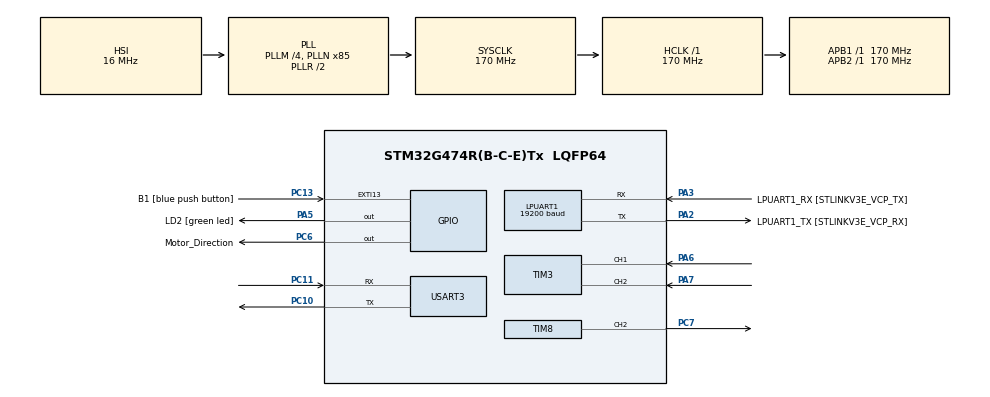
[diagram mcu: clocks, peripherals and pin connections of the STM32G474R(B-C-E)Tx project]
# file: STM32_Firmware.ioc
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LPUART1.BaudRate=19200
LPUART1.Parity=UART_PARITY_EVEN
LPUART1.WordLength=UART_WORDLENGTH_9B
Mcu.Family=STM32G4
Mcu.Name=STM32G474R(B-C-E)Tx
Mcu.Package=LQFP64
NVIC.EXTI15_10_IRQn=true\:0\:0\:false\:false\:true\:true\:true\:true
NVIC.LPUART1_IRQn=true\:0\:0\:false\:false\:true\:true\:true\:true
NVIC.PriorityGroup=NVIC_PRIORITYGROUP_4
NVIC.TIM1_UP_TIM16_IRQn=true\:0\:0\:false\:false\:true\:true\:true\:true
NVIC.TIM6_DAC_IRQn=true\:0\:0\:false\:false\:true\:true\:true\:true
NVIC.USART3_IRQn=true\:0\:0\:false\:false\:true\:true\:true\:true
PA13.GPIO_Label=T_SWDIO
PA13.Signal=SYS_JTMS-SWDIO
PA14.GPIO_Label=T_SWCLK
PA14.Signal=SYS_JTCK-SWCLK
PA2.GPIO_Label=LPUART1_TX [STLINKV3E_VCP_RX]
PA2.Mode=Asynchronous
PA2.Signal=LPUART1_TX
PA3.GPIO_Label=LPUART1_RX [STLINKV3E_VCP_TX]
PA3.Mode=Asynchronous
PA3.Signal=LPUART1_RX
PA5.GPIO_Label=LD2 [green led]
PA5.Signal=GPIO_Output
PA6.Signal=S_TIM3_CH1
PA7.Signal=S_TIM3_CH2
PB3.GPIO_Label=T_SWO
PB3.Signal=SYS_JTDO-SWO
PC10.Mode=Asynchronous
PC10.Signal=USART3_TX
PC11.Mode=Asynchronous
PC11.Signal=USART3_RX
PC13.GPIO_Label=B1 [blue push button]
PC13.Signal=GPXTI13
PC14-OSC32_IN.GPIO_Label=RCC_OSC32_IN
PC14-OSC32_IN.Signal=RCC_OSC32_IN
PC15-OSC32_OUT.GPIO_Label=RCC_OSC32_OUT
PC15-OSC32_OUT.Signal=RCC_OSC32_OUT
PC6.GPIO_Label=Motor_Direction
PC6.Signal=GPIO_Output
PC7.Signal=S_TIM8_CH2
PF0-OSC_IN.GPIO_Label=RCC_OSC_IN
PF0-OSC_IN.Signal=RCC_OSC_IN
PF1-OSC_OUT.GPIO_Label=RCC_OSC_OUT
PF1-OSC_OUT.Signal=RCC_OSC_OUT
ProjectManager.HeapSize=0x200
ProjectManager.StackSize=0x400
ProjectManager.TargetToolchain=STM32CubeIDE
RCC.ADC12Freq_Value=170000000
RCC.ADC345Freq_Value=170000000
RCC.AHBFreq_Value=170000000
RCC.APB1Freq_Value=170000000
RCC.APB1TimFreq_Value=170000000
RCC.APB2Freq_Value=170000000
RCC.APB2TimFreq_Value=170000000
RCC.CortexFreq_Value=170000000
RCC.EXTERNAL_CLOCK_VALUE=12288000
RCC.HCLKFreq_Value=170000000
RCC.HSE_VALUE=24000000
RCC.HSI48_VALUE=48000000
RCC.HSI_VALUE=16000000
RCC.LPUART1CLockSelection=RCC_LPUART1CLKSOURCE_HSI
RCC.LSE_VALUE=32768
RCC.PLLM=RCC_PLLM_DIV4
RCC.PLLN=85
RCC.RTCClockSelection=RCC_RTCCLKSOURCE_LSE
RCC.SYSCLKFreq_VALUE=170000000
RCC.SYSCLKSource=RCC_SYSCLKSOURCE_PLLCLK
RCC.USBFreq_Value=170000000
RCC.VCOOutputFreq_Value=340000000
SH.S_TIM3_CH1.0=TIM3_CH1,Encoder_Interface
SH.S_TIM3_CH2.0=TIM3_CH2,Encoder_Interface
SH.S_TIM8_CH2.0=TIM8_CH2,PWM Generation2 CH2
TIM16.PeriodNoDither=49
TIM16.Prescaler=16999
TIM3.EncoderMode=TIM_ENCODERMODE_TI12
TIM6.AutoReloadPreload=TIM_AUTORELOAD_PRELOAD_ENABLE
TIM6.PeriodNoDither=9999
TIM6.Prescaler=169
TIM8.Channel-PWM\ Generation2\ CH2=TIM_CHANNEL_2
TIM8.PeriodNoDither=50
TIM8.Prescaler=169
USART3.SwapParam=ADVFEATURE_SWAP_ENABLE
USART3.VirtualMode-Asynchronous=VM_ASYNC
VP_SYS_VS_DBSignals.Mode=DisableDeadBatterySignals
VP_TIM16_VS_ClockSourceINT.Mode=Enable_Timer
VP_TIM6_VS_ClockSourceINT.Mode=Enable_Timer
board=NUCLEO-G474RE

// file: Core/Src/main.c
/* USER CODE BEGIN Header */
/**
  ******************************************************************************
  * @file           : main.c
  * @brief          : Main program body
  ******************************************************************************
  * @attention
  *
  * Copyright (c) 2026 STMicroelectronics.
  * All rights reserved.
  *
  * This software is licensed under terms that can be found in the LICENSE file
  * in the root directory of this software component.
  * If no LICENSE file comes with this software, it is provided AS-IS.
  *
  ******************************************************************************
  */
/* USER CODE END Header */
#include "main.h"

/* USER CODE BEGIN Includes */
#include "motor_controller.h"
#include "modbus_bridge.h"
#include <string.h>
#include <stdio.h>
/* USER CODE END Includes */

UART_HandleTypeDef hlpuart1;
UART_HandleTypeDef huart3;

TIM_HandleTypeDef htim3;
TIM_HandleTypeDef htim6;
TIM_HandleTypeDef htim8;
TIM_HandleTypeDef htim16;

/* USER CODE BEGIN PV */
volatile uint8_t rx_byte;
volatile char rx_debug_log[16];  // Circular log to see command history in Live Expressions
volatile uint8_t debug_idx = 0;
volatile uint8_t modbus_rx_byte;
/* USER CODE END PV */

void SystemClock_Config(void);
static void MX_GPIO_Init(void);
static void MX_LPUART1_UART_Init(void);
static void MX_TIM3_Init(void);
static void MX_TIM6_Init(void);
static void MX_TIM8_Init(void);
static void MX_TIM16_Init(void);
static void MX_USART3_UART_Init(void);

/* USER CODE BEGIN 0 */
void Modbus_RxCallback(UART_HandleTypeDef *huart)
{
  ModbusBridge_RxCallback(modbus_rx_byte);
  HAL_UART_Receive_IT(&hlpuart1, &modbus_rx_byte, 1);
}

void HAL_UART_ErrorCallback(UART_HandleTypeDef *huart)
{
  /* --- UART Overrun Error (ORE) Recovery --- */
  if (huart->ErrorCode & HAL_UART_ERROR_ORE) {
    __HAL_UART_CLEAR_FLAG(huart, UART_CLEAR_OREF);
  }

  if (huart->Instance == LPUART1) {
    HAL_UART_AbortReceive_IT(&hlpuart1);
    HAL_UART_Receive_IT(&hlpuart1, &modbus_rx_byte, 1);
  } else if (huart->Instance == USART3) {
    HAL_UART_AbortReceive_IT(&huart3);
    HAL_UART_Receive_IT(&huart3, &rx_byte, 1);
  }
}

void Timer_PeriodElapsedCallback(TIM_HandleTypeDef *htim)
{
  if (htim->Instance == TIM6) {
    Motor_ControlLoop();
  } else if (htim->Instance == TIM16) {
    ModbusBridge_TimerCallback();
  }
}

void Joystick_RxCallback(UART_HandleTypeDef *huart)
{
  // Log the received byte for debugging in Live Expressions
  rx_debug_log[debug_idx] = rx_byte;
  debug_idx = (debug_idx + 1) % 16;

  Motor_ProcessCommand(rx_byte);
  HAL_UART_Receive_IT(&huart3, (uint8_t*)&rx_byte, 1);
}
/* USER CODE END 0 */

int main(void)
{

  /* MCU Configuration--------------------------------------------------------*/

  /* Reset of all peripherals, Initializes the Flash interface and the Systick. */
  HAL_Init();

  /* Configure the system clock */
  SystemClock_Config();

  /* Initialize all configured peripherals */
  MX_GPIO_Init();
  MX_LPUART1_UART_Init();
  MX_TIM3_Init();
  MX_TIM6_Init();
  MX_TIM8_Init();
  MX_TIM16_Init();
  MX_USART3_UART_Init();
  /* USER CODE BEGIN 2 */
  HAL_UART_RegisterCallback(&hlpuart1, HAL_UART_RX_COMPLETE_CB_ID, Modbus_RxCallback);
  HAL_UART_RegisterCallback(&huart3, HAL_UART_RX_COMPLETE_CB_ID, Joystick_RxCallback);
  HAL_UART_RegisterCallback(&hlpuart1, HAL_UART_ERROR_CB_ID, HAL_UART_ErrorCallback);
  HAL_UART_RegisterCallback(&huart3, HAL_UART_ERROR_CB_ID, HAL_UART_ErrorCallback);

  HAL_TIM_RegisterCallback(&htim6, HAL_TIM_PERIOD_ELAPSED_CB_ID, Timer_PeriodElapsedCallback);
  HAL_TIM_RegisterCallback(&htim16, HAL_TIM_PERIOD_ELAPSED_CB_ID, Timer_PeriodElapsedCallback);

  Motor_Init();
  Motor_SetVoltageLimit(12.0f, 12.0f);
  Motor_SetMotionProfile(250.0f, 500.0f, 0.1f);
  ModbusBridge_Init();

  HAL_UART_Receive_IT(&hlpuart1, &modbus_rx_byte, 1);
  HAL_UART_Receive_IT(&huart3, &rx_byte, 1);
  /* USER CODE END 2 */

  /* Infinite loop */
  /* USER CODE BEGIN WHILE */
  uint32_t last_matlab_tick = HAL_GetTick();
  while (1)
  {
    /* USER CODE END WHILE */

    /* USER CODE BEGIN 3 */
      // Dummy usage to force linker to keep these symbols for Live Expressions
      if (debug_idx > 100) rx_debug_log[0] = 0;

	  if (HAL_GetTick() - last_matlab_tick >= 20) {
	        Motor_SendDataToMatlab();
	        last_matlab_tick = HAL_GetTick();
	      }

	      ModbusBridge_UpdateRegisters();
	      ModbusBridge_Process();
  }
  /* USER CODE END 3 */
}

void SystemClock_Config(void)
{
  RCC_OscInitTypeDef RCC_OscInitStruct = {0};
  RCC_ClkInitTypeDef RCC_ClkInitStruct = {0};

  /** Configure the main internal regulator output voltage
  */
  HAL_PWREx_ControlVoltageScaling(PWR_REGULATOR_VOLTAGE_SCALE1_BOOST);

  /** Initializes the RCC Oscillators according to the specified parameters
  * in the RCC_OscInitTypeDef structure.
  */
  RCC_OscInitStruct.OscillatorType = RCC_OSCILLATORTYPE_HSI;
  RCC_OscInitStruct.HSIState = RCC_HSI_ON;
  RCC_OscInitStruct.HSICalibrationValue = RCC_HSICALIBRATION_DEFAULT;
  RCC_OscInitStruct.PLL.PLLState = RCC_PLL_ON;
  RCC_OscInitStruct.PLL.PLLSource = RCC_PLLSOURCE_HSI;
  RCC_OscInitStruct.PLL.PLLM = RCC_PLLM_DIV4;
  RCC_OscInitStruct.PLL.PLLN = 85;
  RCC_OscInitStruct.PLL.PLLP = RCC_PLLP_DIV2;
  RCC_OscInitStruct.PLL.PLLQ = RCC_PLLQ_DIV2;
  RCC_OscInitStruct.PLL.PLLR = RCC_PLLR_DIV2;
  if (HAL_RCC_OscConfig(&RCC_OscInitStruct) != HAL_OK)
  {
    Error_Handler();
  }

  /** Initializes the CPU, AHB and APB buses clocks
  */
  RCC_ClkInitStruct.ClockType = RCC_CLOCKTYPE_HCLK|RCC_CLOCKTYPE_SYSCLK
                              |RCC_CLOCKTYPE_PCLK1|RCC_CLOCKTYPE_PCLK2;
  RCC_ClkInitStruct.SYSCLKSource = RCC_SYSCLKSOURCE_PLLCLK;
  RCC_ClkInitStruct.AHBCLKDivider = RCC_SYSCLK_DIV1;
  RCC_ClkInitStruct.APB1CLKDivider = RCC_HCLK_DIV1;
  RCC_ClkInitStruct.APB2CLKDivider = RCC_HCLK_DIV1;

  if (HAL_RCC_ClockConfig(&RCC_ClkInitStruct, FLASH_LATENCY_4) != HAL_OK)
  {
    Error_Handler();
  }
}

static void MX_LPUART1_UART_Init(void)
{

  hlpuart1.Instance = LPUART1;
  hlpuart1.Init.BaudRate = 19200;
  hlpuart1.Init.WordLength = UART_WORDLENGTH_9B;
  hlpuart1.Init.StopBits = UART_STOPBITS_1;
  hlpuart1.Init.Parity = UART_PARITY_EVEN;
  hlpuart1.Init.Mode = UART_MODE_TX_RX;
  hlpuart1.Init.HwFlowCtl = UART_HWCONTROL_NONE;
  hlpuart1.Init.OneBitSampling = UART_ONE_BIT_SAMPLE_DISABLE;
  hlpuart1.Init.ClockPrescaler = UART_PRESCALER_DIV1;
  hlpuart1.AdvancedInit.AdvFeatureInit = UART_ADVFEATURE_NO_INIT;
  if (HAL_UART_Init(&hlpuart1) != HAL_OK)
  {
    Error_Handler();
  }
  if (HAL_UARTEx_SetTxFifoThreshold(&hlpuart1, UART_TXFIFO_THRESHOLD_1_8) != HAL_OK)
  {
    Error_Handler();
  }
  if (HAL_UARTEx_SetRxFifoThreshold(&hlpuart1, UART_RXFIFO_THRESHOLD_1_8) != HAL_OK)
  {
    Error_Handler();
  }
  if (HAL_UARTEx_DisableFifoMode(&hlpuart1) != HAL_OK)
  {
    Error_Handler();
  }

}

static void MX_USART3_UART_Init(void)
{

  huart3.Instance = USART3;
  huart3.Init.BaudRate = 115200;
  huart3.Init.WordLength = UART_WORDLENGTH_8B;
  huart3.Init.StopBits = UART_STOPBITS_1;
  huart3.Init.Parity = UART_PARITY_NONE;
  huart3.Init.Mode = UART_MODE_TX_RX;
  huart3.Init.HwFlowCtl = UART_HWCONTROL_NONE;
  huart3.Init.OverSampling = UART_OVERSAMPLING_16;
  huart3.Init.OneBitSampling = UART_ONE_BIT_SAMPLE_DISABLE;
  huart3.Init.ClockPrescaler = UART_PRESCALER_DIV1;
  huart3.AdvancedInit.AdvFeatureInit = UART_ADVFEATURE_SWAP_INIT;
  huart3.AdvancedInit.Swap = UART_ADVFEATURE_SWAP_ENABLE;
  if (HAL_UART_Init(&huart3) != HAL_OK)
  {
    Error_Handler();
  }
  if (HAL_UARTEx_SetTxFifoThreshold(&huart3, UART_TXFIFO_THRESHOLD_1_8) != HAL_OK)
  {
    Error_Handler();
  }
  if (HAL_UARTEx_SetRxFifoThreshold(&huart3, UART_RXFIFO_THRESHOLD_1_8) != HAL_OK)
  {
    Error_Handler();
  }
  if (HAL_UARTEx_DisableFifoMode(&huart3) != HAL_OK)
  {
    Error_Handler();
  }

}

static void MX_TIM3_Init(void)
{

  TIM_Encoder_InitTypeDef sConfig = {0};
  TIM_MasterConfigTypeDef sMasterConfig = {0};

  htim3.Instance = TIM3;
  htim3.Init.Prescaler = 0;
  htim3.Init.CounterMode = TIM_COUNTERMODE_UP;
  htim3.Init.Period = 65535;
  htim3.Init.ClockDivision = TIM_CLOCKDIVISION_DIV1;
  htim3.Init.AutoReloadPreload = TIM_AUTORELOAD_PRELOAD_DISABLE;
  sConfig.EncoderMode = TIM_ENCODERMODE_TI12;
  sConfig.IC1Polarity = TIM_ICPOLARITY_RISING;
  sConfig.IC1Selection = TIM_ICSELECTION_DIRECTTI;
  sConfig.IC1Prescaler = TIM_ICPSC_DIV1;
  sConfig.IC1Filter = 0;
  sConfig.IC2Polarity = TIM_ICPOLARITY_RISING;
  sConfig.IC2Selection = TIM_ICSELECTION_DIRECTTI;
  sConfig.IC2Prescaler = TIM_ICPSC_DIV1;
  sConfig.IC2Filter = 0;
  if (HAL_TIM_Encoder_Init(&htim3, &sConfig) != HAL_OK)
  {
    Error_Handler();
  }
  sMasterConfig.MasterOutputTrigger = TIM_TRGO_RESET;
  sMasterConfig.MasterSlaveMode = TIM_MASTERSLAVEMODE_DISABLE;
  if (HAL_TIMEx_MasterConfigSynchronization(&htim3, &sMasterConfig) != HAL_OK)
  {
    Error_Handler();
  }

}

static void MX_TIM6_Init(void)
{

  TIM_MasterConfigTypeDef sMasterConfig = {0};

  htim6.Instance = TIM6;
  htim6.Init.Prescaler = 169;
  htim6.Init.CounterMode = TIM_COUNTERMODE_UP;
  htim6.Init.Period = 9999;
  htim6.Init.AutoReloadPreload = TIM_AUTORELOAD_PRELOAD_ENABLE;
  if (HAL_TIM_Base_Init(&htim6) != HAL_OK)
  {
    Error_Handler();
  }
  sMasterConfig.MasterOutputTrigger = TIM_TRGO_RESET;
  sMasterConfig.MasterSlaveMode = TIM_MASTERSLAVEMODE_DISABLE;
  if (HAL_TIMEx_MasterConfigSynchronization(&htim6, &sMasterConfig) != HAL_OK)
  {
    Error_Handler();
  }

}

static void MX_TIM8_Init(void)
{

  TIM_MasterConfigTypeDef sMasterConfig = {0};
  TIM_OC_InitTypeDef sConfigOC = {0};
  TIM_BreakDeadTimeConfigTypeDef sBreakDeadTimeConfig = {0};

  htim8.Instance = TIM8;
  htim8.Init.Prescaler = 169;
  htim8.Init.CounterMode = TIM_COUNTERMODE_UP;
  htim8.Init.Period = 50;
  htim8.Init.ClockDivision = TIM_CLOCKDIVISION_DIV1;
  htim8.Init.RepetitionCounter = 0;
  htim8.Init.AutoReloadPreload = TIM_AUTORELOAD_PRELOAD_DISABLE;
  if (HAL_TIM_PWM_Init(&htim8) != HAL_OK)
  {
    Error_Handler();
  }
  sMasterConfig.MasterOutputTrigger = TIM_TRGO_RESET;
  sMasterConfig.MasterOutputTrigger2 = TIM_TRGO2_RESET;
  sMasterConfig.MasterSlaveMode = TIM_MASTERSLAVEMODE_DISABLE;
  if (HAL_TIMEx_MasterConfigSynchronization(&htim8, &sMasterConfig) != HAL_OK)
  {
    Error_Handler();
  }
  sConfigOC.OCMode = TIM_OCMODE_PWM1;
  sConfigOC.Pulse = 0;
  sConfigOC.OCPolarity = TIM_OCPOLARITY_HIGH;
  sConfigOC.OCNPolarity = TIM_OCNPOLARITY_HIGH;
  sConfigOC.OCFastMode = TIM_OCFAST_DISABLE;
  sConfigOC.OCIdleState = TIM_OCIDLESTATE_RESET;
  sConfigOC.OCNIdleState = TIM_OCNIDLESTATE_RESET;
  if (HAL_TIM_PWM_ConfigChannel(&htim8, &sConfigOC, TIM_CHANNEL_2) != HAL_OK)
  {
    Error_Handler();
  }
  sBreakDeadTimeConfig.OffStateRunMode = TIM_OSSR_DISABLE;
  sBreakDeadTimeConfig.OffStateIDLEMode = TIM_OSSI_DISABLE;
  sBreakDeadTimeConfig.LockLevel = TIM_LOCKLEVEL_OFF;
  sBreakDeadTimeConfig.DeadTime = 0;
  sBreakDeadTimeConfig.BreakState = TIM_BREAK_DISABLE;
  sBreakDeadTimeConfig.BreakPolarity = TIM_BREAKPOLARITY_HIGH;
  sBreakDeadTimeConfig.BreakFilter = 0;
  sBreakDeadTimeConfig.BreakAFMode = TIM_BREAK_AFMODE_INPUT;
  sBreakDeadTimeConfig.Break2State = TIM_BREAK2_DISABLE;
  sBreakDeadTimeConfig.Break2Polarity = TIM_BREAK2POLARITY_HIGH;
  sBreakDeadTimeConfig.Break2Filter = 0;
  sBreakDeadTimeConfig.Break2AFMode = TIM_BREAK_AFMODE_INPUT;
  sBreakDeadTimeConfig.AutomaticOutput = TIM_AUTOMATICOUTPUT_DISABLE;
  if (HAL_TIMEx_ConfigBreakDeadTime(&htim8, &sBreakDeadTimeConfig) != HAL_OK)
  {
    Error_Handler();
  }
  HAL_TIM_MspPostInit(&htim8);

}

static void MX_TIM16_Init(void)
{

  htim16.Instance = TIM16;
  htim16.Init.Prescaler = 16999;
  htim16.Init.CounterMode = TIM_COUNTERMODE_UP;
  htim16.Init.Period = 49;
  htim16.Init.ClockDivision = TIM_CLOCKDIVISION_DIV1;
  htim16.Init.RepetitionCounter = 0;
  htim16.Init.AutoReloadPreload = TIM_AUTORELOAD_PRELOAD_DISABLE;
  if (HAL_TIM_Base_Init(&htim16) != HAL_OK)
  {
    Error_Handler();
  }

}

static void MX_GPIO_Init(void)
{
  GPIO_InitTypeDef GPIO_InitStruct = {0};

  /* GPIO Ports Clock Enable */
  __HAL_RCC_GPIOC_CLK_ENABLE();
  __HAL_RCC_GPIOF_CLK_ENABLE();
  __HAL_RCC_GPIOA_CLK_ENABLE();
  __HAL_RCC_GPIOB_CLK_ENABLE();

  /*Configure GPIO pin Output Level */
  HAL_GPIO_WritePin(LD2_GPIO_Port, LD2_Pin, GPIO_PIN_RESET);

  /*Configure GPIO pin Output Level */
  HAL_GPIO_WritePin(Motor_Direction_GPIO_Port, Motor_Direction_Pin, GPIO_PIN_RESET);

  /*Configure GPIO pin : B1_Pin */
  GPIO_InitStruct.Pin = B1_Pin;
  GPIO_InitStruct.Mode = GPIO_MODE_IT_RISING;
  GPIO_InitStruct.Pull = GPIO_NOPULL;
  HAL_GPIO_Init(B1_GPIO_Port, &GPIO_InitStruct);

  /*Configure GPIO pin : LD2_Pin */
  GPIO_InitStruct.Pin = LD2_Pin;
  GPIO_InitStruct.Mode = GPIO_MODE_OUTPUT_PP;
  GPIO_InitStruct.Pull = GPIO_NOPULL;
  GPIO_InitStruct.Speed = GPIO_SPEED_FREQ_LOW;
  HAL_GPIO_Init(LD2_GPIO_Port, &GPIO_InitStruct);

  /*Configure GPIO pin : Motor_Direction_Pin */
  GPIO_InitStruct.Pin = Motor_Direction_Pin;
  GPIO_InitStruct.Mode = GPIO_MODE_OUTPUT_PP;
  GPIO_InitStruct.Pull = GPIO_NOPULL;
  GPIO_InitStruct.Speed = GPIO_SPEED_FREQ_LOW;
  HAL_GPIO_Init(Motor_Direction_GPIO_Port, &GPIO_InitStruct);

  /* EXTI interrupt init*/
  HAL_NVIC_SetPriority(EXTI15_10_IRQn, 0, 0);
  HAL_NVIC_EnableIRQ(EXTI15_10_IRQn);

}

/* USER CODE BEGIN 4 */
int _write(int file, char *ptr, int len)
{
  HAL_UART_Transmit(&huart3, (uint8_t*)ptr, len, HAL_MAX_DELAY);
  return len;
}
/* USER CODE END 4 */

void Error_Handler(void)
{
  __disable_irq();
  while (1)
  {
  }
}
